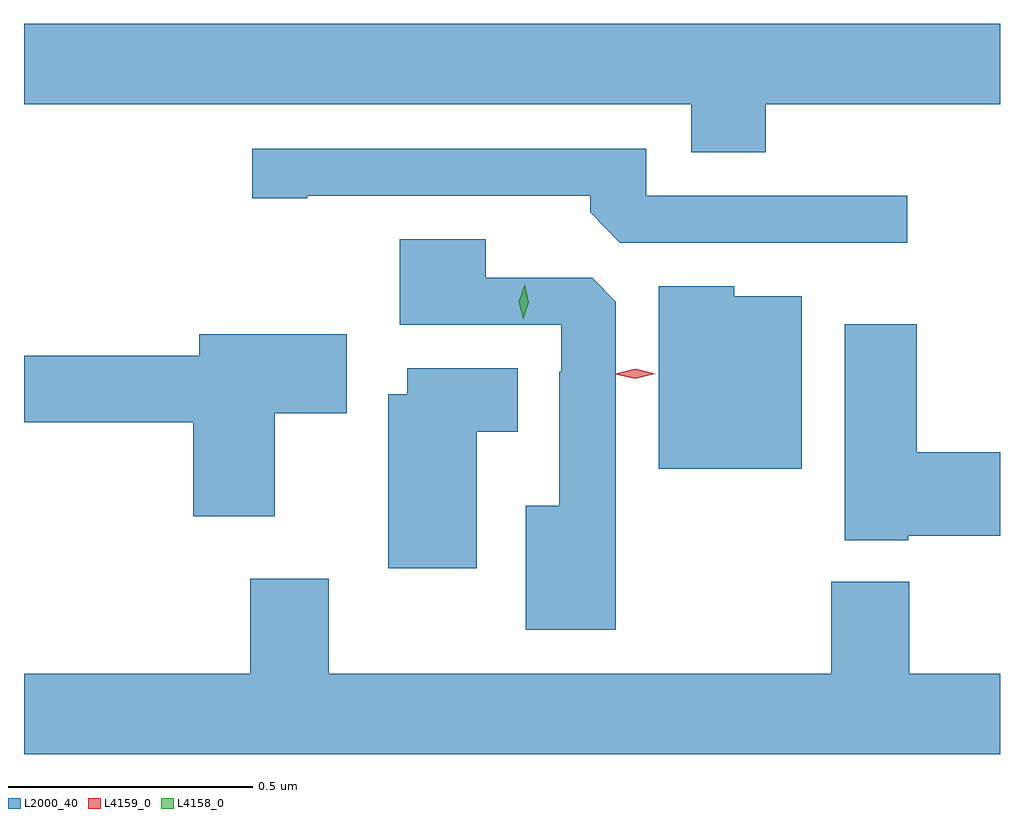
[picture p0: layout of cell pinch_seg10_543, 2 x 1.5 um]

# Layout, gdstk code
import gdstk
lib = gdstk.Library(unit=1e-6, precision=1e-09)
def P(c, l, *ps):  # polygons
    for p in ps: c.add(gdstk.Polygon(p, *l))
L2000_40 = (2000, 40)
L4158_0 = (4158, 0)
L4159_0 = (4159, 0)

pinch_seg10_543 = lib.new_cell('pinch_seg10_543')
P(pinch_seg10_543, L2000_40, [(210.698,1288.328),(211.178,1288.328),(211.178,1288.492),(209.178,1288.492),(209.178,1288.328),(210.545,1288.328),(210.545,1288.229),(210.698,1288.229)],
  [(210.988,1288.14),(210.453,1288.14),(210.453,1288.236),(209.646,1288.236),(209.646,1288.135),(209.758,1288.135),(209.758,1288.14),(210.338,1288.14),(210.338,1288.106),(210.399,1288.044),(210.988,1288.044)],
  [(210.391,1287.923),(210.342,1287.972),(210.124,1287.972),(210.124,1288.051),(209.948,1288.051),(209.948,1287.876),(210.279,1287.876),(210.279,1287.779),(210.275,1287.779),(210.275,1287.505),(210.206,1287.505),(210.206,1287.251),(210.391,1287.251)],
  [(210.772,1287.934),(210.633,1287.934),(210.633,1287.955),(210.479,1287.955),(210.479,1287.581),(210.772,1287.581)],
  [(210.99,1287.443),(211.178,1287.443),(211.178,1287.614),(211.007,1287.614),(211.007,1287.877),(210.86,1287.877),(210.86,1287.434),(210.99,1287.434)],
  [(209.692,1287.694),(209.839,1287.694),(209.839,1287.856),(209.537,1287.856),(209.537,1287.812),(209.178,1287.812),(209.178,1287.676),(209.525,1287.676),(209.525,1287.483),(209.692,1287.483)],
  [(210.106,1287.656),(210.19,1287.656),(210.19,1287.787),(209.963,1287.787),(209.963,1287.733),(209.924,1287.733),(209.924,1287.377),(210.106,1287.377)],
  [(211.178,1287.16),(210.992,1287.16),(210.992,1287.349),(210.832,1287.349),(210.832,1287.16),(209.802,1287.16),(209.802,1287.355),(209.642,1287.355),(209.642,1287.16),(209.178,1287.16),(209.178,1286.996),(211.178,1286.996)])
P(pinch_seg10_543, L4158_0, [(210.201,1287.887),(210.201,1287.888),(210.192,1287.923),(210.204,1287.958),(210.204,1287.958),(210.204,1287.958),(210.212,1287.922),(210.201,1287.888)])
P(pinch_seg10_543, L4159_0, [(210.431,1287.765),(210.39,1287.774),(210.39,1287.775),(210.39,1287.775),(210.431,1287.785),(210.472,1287.775),(210.472,1287.775),(210.472,1287.775)])

lib.write_gds('pinch_seg10_543.gds')
